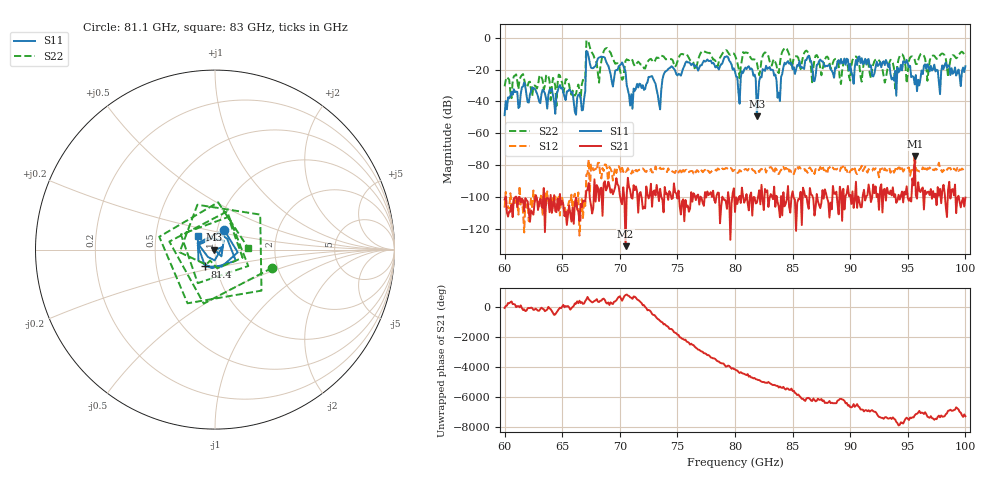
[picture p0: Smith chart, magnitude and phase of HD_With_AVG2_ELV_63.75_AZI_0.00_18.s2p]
! 11/25/2026 10:18:52 AM
! C:\ANRITSUVNA\TEMP\TEMP.S2P
! CHANNEL.1
! TR.MEASUREMENT
! RAW.DATA
# HZ S RI R 50.0
! FREQ.HZ  S11RE  S11IM  S21RE  S21IM  S12RE  S12IM  S22RE  S22IM
!; PortSelection: Port_12
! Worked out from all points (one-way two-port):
!   401 points, 60 GHz to 100 GHz, reference 50 ohm
!   highest |S21| = -74.60 dB at 95.6 GHz (marker M1); lowest = -131.0 dB at 70.5 GHz (marker M2)
!   lowest |S11| = -49.4 dB at 81.9 GHz (marker M3), VSWR 1.01, Z = 49.7 + j0.0232 ohm
!   |S11| at or under -10 dB: start of sweep to 67.09 GHz; 67.23 GHz to end of sweep
!   |S22| runs from -42.8 to -1.7 dB; largest |S21 - S12| = 0.00015
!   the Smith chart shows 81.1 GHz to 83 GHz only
!   S11 on the Smith chart (normalised r, x): 81.1 GHz: 1.08, +0.24; 81.4 GHz: 0.88, -0.17; 83 GHz: 0.82, +0.12
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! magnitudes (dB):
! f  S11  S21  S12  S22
! 60 GHz  -48.7  -101.7  -106.7  -30.5
! 61.6 GHz  -30.6  -102.2  -109.4  -22.8
! 66.7 GHz  -45.7  -106.4  -101.3  -29.5
! 67.3 GHz  -12.1  -91.3  -76.5  -3.2
! 68.1 GHz  -13.0  -94.1  -78.6  -22.5
! 68.8 GHz  -14.7  -95.9  -79.8  -6.6
! 70.5 GHz  -21.3  -131.0  -84.3  -14.5
! 70.9 GHz  -42.6  -95.9  -84.4  -13.5
! 72.7 GHz  -24.4  -91.8  -82.5  -13.3
! 73.4 GHz  -41.1  -102.6  -83.1  -12.6
! 74.4 GHz  -18.6  -97.8  -83.1  -13.4
! 80 GHz  -21.2  -109.5  -83.1  -11.1
! 81.1 GHz  -18.4  -103.9  -83.4  -9.5
! 81.4 GHz  -19.3  -97.2  -81.6  -13.0
! 81.9 GHz  -49.4  -103.7  -83.7  -15.9
! 83 GHz  -18.4  -100.9  -81.6  -14.6
! 83.8 GHz  -34.4  -106.2  -85.6  -22.3
! 84.4 GHz  -16.7  -104.4  -81.8  -6.2
! 86.7 GHz  -17.6  -99.1  -83.8  -28.0
! 93.4 GHz  -16.3  -98.2  -81.6  -15.6
! 95.6 GHz  -29.3  -74.6  -72.9  -13.9
! 100 GHz  -17.9  -100.5  -83.5  -12.1
